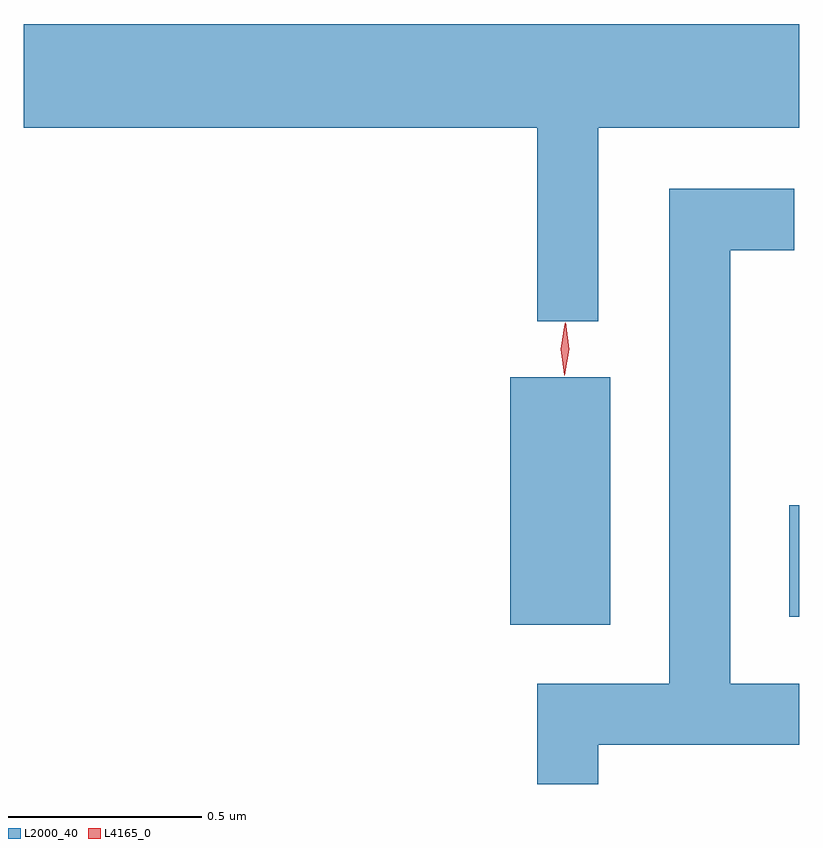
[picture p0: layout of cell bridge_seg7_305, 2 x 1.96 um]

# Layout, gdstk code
import gdstk
lib = gdstk.Library(unit=1e-6, precision=1e-09)
def R(c, l, rs):  # rectangles x0, y0, x1, y1
    for r in rs: c.add(gdstk.rectangle(r[:2], r[2:], *l))
def P(c, l, *ps):  # polygons
    for p in ps: c.add(gdstk.Polygon(p, *l))
L2000_40 = (2000, 40)
L4165_0 = (4165, 0)

bridge_seg7_305 = lib.new_cell('bridge_seg7_305')
R(bridge_seg7_305, L2000_40, [(1352.296,1766.316,1352.554,1766.954), (1353.016,1766.336,1353.042,1766.624)])
P(bridge_seg7_305, L2000_40, [(1352.524,1767.596),(1353.042,1767.596),(1353.042,1767.864),(1351.042,1767.864),(1351.042,1767.596),(1352.366,1767.596),(1352.366,1767.098),(1352.524,1767.098)],
  [(1352.524,1766.006),(1353.042,1766.006),(1353.042,1766.164),(1352.864,1766.164),(1352.864,1767.281),(1353.028,1767.281),(1353.028,1767.439),(1352.706,1767.439),(1352.706,1766.164),(1352.366,1766.164),(1352.366,1765.905),(1352.524,1765.905)])
P(bridge_seg7_305, L4165_0, [(1352.436,1766.958),(1352.428,1767.027),(1352.439,1767.095),(1352.439,1767.095),(1352.44,1767.095),(1352.448,1767.026),(1352.437,1766.958),(1352.437,1766.958)],
  [(1352.437,1766.96),(1352.436,1766.961),(1352.427,1767.026),(1352.437,1767.091),(1352.438,1767.092),(1352.438,1767.091),(1352.447,1767.026),(1352.437,1766.961)])

lib.write_gds('bridge_seg7_305.gds')
